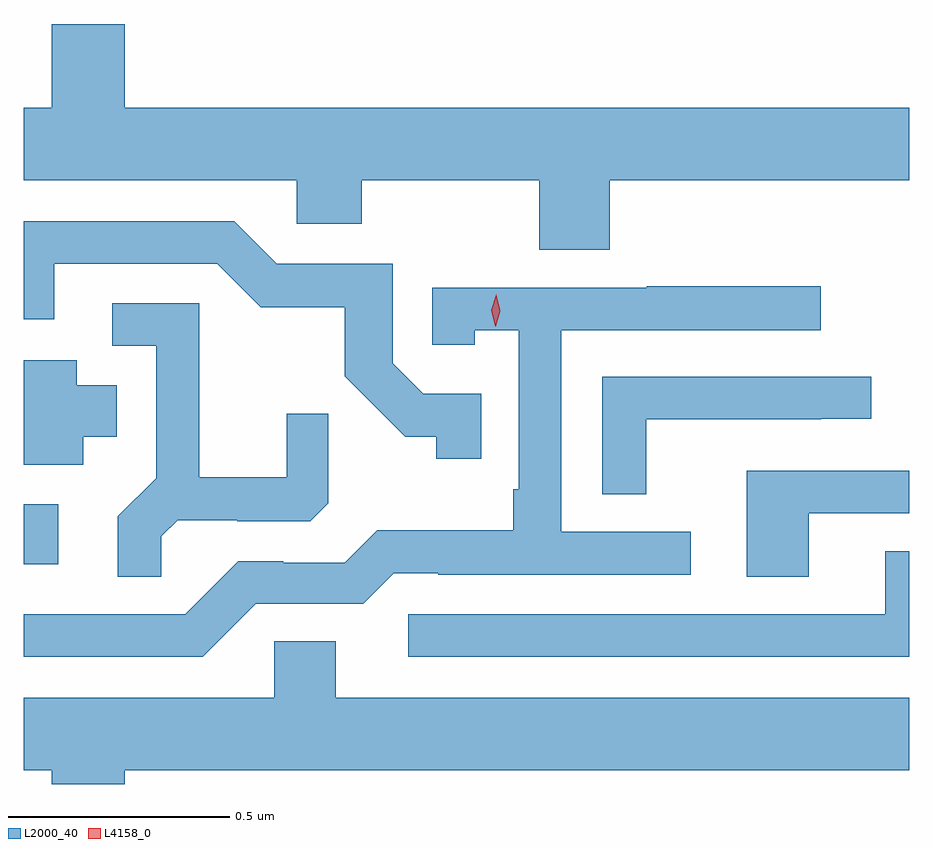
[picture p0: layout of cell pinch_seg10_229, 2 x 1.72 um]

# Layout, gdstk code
import gdstk
lib = gdstk.Library(unit=1e-6, precision=1e-09)
def R(c, l, rs):  # rectangles x0, y0, x1, y1
    for r in rs: c.add(gdstk.rectangle(r[:2], r[2:], *l))
def P(c, l, *ps):  # polygons
    for p in ps: c.add(gdstk.Polygon(p, *l))
L2000_40 = (2000, 40)
L4158_0 = (4158, 0)

pinch_seg10_229 = lib.new_cell('pinch_seg10_229')
R(pinch_seg10_229, L2000_40, [(632.476,1319.429,632.554,1319.565)])
P(pinch_seg10_229, L2000_40, [(633.8,1320.296),(634.476,1320.296),(634.476,1320.46),(632.704,1320.46),(632.704,1320.649),(632.54,1320.649),(632.54,1320.46),(632.476,1320.46),(632.476,1320.296),(633.093,1320.296),(633.093,1320.198),(633.24,1320.198),(633.24,1320.296),(633.64,1320.296),(633.64,1320.139),(633.8,1320.139)],
  [(633.509,1319.814),(633.378,1319.814),(633.309,1319.883),(633.309,1320.108),(633.048,1320.108),(632.952,1320.204),(632.476,1320.204),(632.476,1319.982),(632.545,1319.982),(632.545,1320.108),(632.913,1320.108),(633.012,1320.01),(633.201,1320.01),(633.201,1319.854),(633.338,1319.717),(633.408,1319.717),(633.408,1319.667),(633.509,1319.667)],
  [(633,1319.34),(633.243,1319.34),(633.312,1319.409),(633.412,1319.409),(633.412,1319.406),(633.982,1319.406),(633.982,1319.502),(633.69,1319.502),(633.69,1319.958),(634.276,1319.958),(634.276,1320.057),(633.883,1320.057),(633.883,1320.054),(633.399,1320.054),(633.399,1319.925),(633.495,1319.925),(633.495,1319.957),(633.594,1319.957),(633.594,1319.599),(633.582,1319.599),(633.582,1319.506),(633.274,1319.506),(633.201,1319.433),(633.062,1319.433),(633.062,1319.436),(632.961,1319.436),(632.841,1319.316),(632.476,1319.316),(632.476,1319.22),(632.88,1319.22)],
  [(632.787,1319.492),(632.824,1319.529),(632.958,1319.529),(632.958,1319.526),(633.123,1319.526),(633.164,1319.567),(633.164,1319.769),(633.07,1319.769),(633.07,1319.626),(632.873,1319.626),(632.873,1320.018),(632.676,1320.018),(632.676,1319.922),(632.775,1319.922),(632.775,1319.623),(632.689,1319.537),(632.689,1319.401),(632.787,1319.401)],
  [(632.611,1319.717),(632.686,1319.717),(632.686,1319.833),(632.596,1319.833),(632.596,1319.89),(632.476,1319.89),(632.476,1319.654),(632.611,1319.654)],
  [(633.882,1319.757),(634.277,1319.757),(634.277,1319.758),(634.39,1319.758),(634.39,1319.853),(633.783,1319.853),(633.783,1319.587),(633.882,1319.587)],
  [(634.249,1319.544),(634.476,1319.544),(634.476,1319.64),(634.109,1319.64),(634.109,1319.401),(634.249,1319.401)],
  [(634.476,1319.459),(634.421,1319.459),(634.421,1319.316),(633.345,1319.316),(633.345,1319.22),(634.476,1319.22)],
  [(632.704,1318.964),(634.476,1318.964),(634.476,1319.128),(633.181,1319.128),(633.181,1319.255),(633.042,1319.255),(633.042,1319.128),(632.476,1319.128),(632.476,1318.964),(632.54,1318.964),(632.54,1318.933),(632.704,1318.933)])
P(pinch_seg10_229, L4158_0, [(633.541,1319.967),(633.541,1319.967),(633.532,1320.003),(633.543,1320.038),(633.543,1320.039),(633.543,1320.038),(633.552,1320.002),(633.542,1319.967)])

lib.write_gds('pinch_seg10_229.gds')
